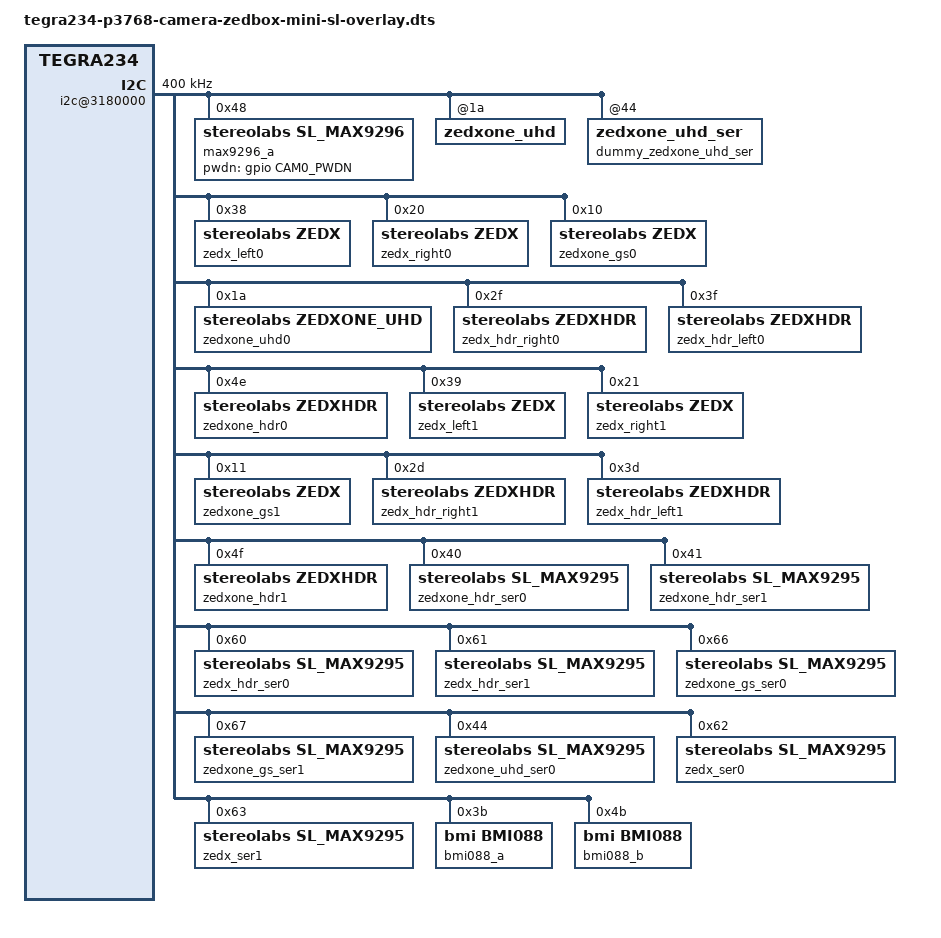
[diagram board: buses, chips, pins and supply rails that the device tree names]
// SPDX-License-Identifier: GPL-2.0-only
// SPDX-FileCopyrightText: Copyright (c) 2023-2024, NVIDIA CORPORATION & AFFILIATES. All rights reserved.

#ifdef BUILDOVERLAY
/dts-v1/;
/plugin/;
#endif 

#include "tegra234-camera-zedbox-mini.dtsi"
#include "Utils/camera-clks.dtsi"
#include "dt-bindings/clock/tegra234-clock.h"
#include "dt-bindings/gpio/tegra234-gpio.h"
#include <dt-bindings/tegra234-p3767-0000-common.h>

#define CAM0_PWDN   TEGRA234_MAIN_GPIO(H, 6)

/ {
#ifdef BUILDOVERLAY
	overlay-name = "Jetson Camera ZED-X + ZED Box Mini";
	jetson-header-name = "Jetson 24pin CSI Connector";
	compatible = JETSON_COMPATIBLE_P3768;
	
	fragment-camera-zedx-streamer@0 {
		target-path = "/";
		__overlay__ {
#endif
			bus@0 {
				i2c@3180000{
					clock-frequency = <0x61a80>; // Set to 400 kHz
					/* deserializer MAX9296 at address 0x48*/
					max9296_a@48 {
						compatible = "stereolabs,sl_max9296";
						reg = <0x48>;  /* deserializer i2c_address */
						channel = "a"; /* deserializer channel: one per deser */
						sync_mode = "master";
						mfp-trig-in = <0x01>; /* MFP pin used for trigger input */
						mfp-trig-info = <0x05>; /* MFP pin used to configure slave mode */
						camera-serializers = < /* GMSL 0 */ &zedxone_gs_ser0 &zedxone_hdr_ser0 &zedx_hdr_ser0 &zedx_ser0  &zedxone_uhd_ser0 
											   /* GMSL 1 */ &zedxone_gs_ser1 &zedxone_hdr_ser1 &zedx_hdr_ser1 &zedx_ser1  &dummy_zedxone_uhd_ser >;
						pwdn-gpio = <&gpio CAM0_PWDN GPIO_ACTIVE_HIGH>;
					};

					/* DUMMY  -  Do not populate */
					zedxone_uhd:zedxone_uhd@1a {};
					dummy_zedxone_uhd_ser: zedxone_uhd_ser@44 {
						camera_model = "zedone4k";
						zedx-id = "-1";
						camera-sensors = <&zedxone_uhd>;
					};

					/* ZEDX 0 Left Cam*/
					zedx_left0: zedx_left_0@38 {
						compatible = "stereolabs,zedx";
						reg = <0x38>;

						ZED_ORIN_CLKS

						zedx-id = "0";
						channel = "a"; /* deserializer channel */

						has-eeprom;
						eeprom-addr = <0x54>;
					};

					/* ZEDX 0 Right Cam*/
					zedx_right0: zedx_right_0@20 {
						compatible = "stereolabs,zedx";
						reg = <0x20>;

						ZED_ORIN_CLKS

						zedx-id = "0";
						channel = "a";  /* deserializer channel */

						has-eeprom;
						eeprom-addr = <0x54>;
					};
					
					/* ZEDX One GS 0 Cam*/
					zedxone_gs0:zedxone_gs_0@10 {
						compatible = "stereolabs,zedx";
						reg = <0x10>;

						ZED_ORIN_CLKS

						zedx-id = "1";
						channel = "a";   /* deserializer channel */

						eeprom-addr = <0x56>;
						has-eeprom;
					};
					
					/*ZEDX One UHD 0 Cam*/
					zedxone_uhd0:zedxone_uhd_0@1a {
						compatible = "stereolabs,zedxone_uhd";
						reg = <0x1a>;
						
						ZED_ORIN_CLKS

						zedx-id = "4";
						channel = "a"; /* deserializer channel */

						eeprom-addr = <0x54>;
						has-eeprom;
					};
					
					/* ZEDX Pro Left Cam 0 */
					zedx_hdr_right0: zedx_hdr_right_0@2f {
						compatible = "stereolabs,zedxhdr";
						reg = <0x2f>;
						
						ZED_ORIN_CLKS

						zedx-id = "2";
						channel = "a"; /* deserializer channel */

						eeprom-addr = <0x52>;
						has-eeprom;
					};
					
					/* ZEDX Pro Right Cam 0 */
					zedx_hdr_left0: zedx_hdr_left_0@3f {
						compatible = "stereolabs,zedxhdr";
						reg = <0x3f>;
						
						ZED_ORIN_CLKS

						zedx-id = "2";
						channel = "a";  /* deserializer channel */

						eeprom-addr = <0x52>;
						has-eeprom;
					};

					/* ZEDX One pro Cam 0 */
					zedxone_hdr0: zedxone_hdr_0@4e {
						compatible = "stereolabs,zedxhdr";
						reg = <0x4e>;
						
						ZED_ORIN_CLKS

						zedx-id = "3";
						channel = "a";  /* deserializer channel */

						eeprom-addr = <0x52>;
						has-eeprom;
					};

					/* ZEDX 1 Left Cam*/
					zedx_left1: zedx_left_1@39 {
						compatible = "stereolabs,zedx";
						reg = <0x39>;

						ZED_ORIN_CLKS

						zedx-id = "5";
						channel = "a"; /* deserializer channel */

						has-eeprom;
						eeprom-addr = <0x54>;
					};
					
					/* ZEDX 1 Right Cam*/
					zedx_right1: zedx_right_1@21 {
						compatible = "stereolabs,zedx";
						reg = <0x21>;

						ZED_ORIN_CLKS

						channel = "a";  /* deserializer channel */
						zedx-id = "5";

						has-eeprom;
						eeprom-addr = <0x54>;
					};

					/* ZEDX One GS 1 Cam*/
					zedxone_gs1:zedxone_gs_1@11 {
						compatible = "stereolabs,zedx";
						reg = <0x11>;

						ZED_ORIN_CLKS

						zedx-id = "6";
						channel = "a";   /* deserializer channel */

						eeprom-addr = <0x56>;
						has-eeprom;
					};

					/* ZEDX Pro Left Cam 1 */
					zedx_hdr_right1: zedx_hdr_right_1@2d {
						compatible = "stereolabs,zedxhdr";
						reg = <0x2d>;
						
						ZED_ORIN_CLKS

						zedx-id = "9";
						channel = "a"; /* deserializer channel */

						eeprom-addr = <0x52>;
						has-eeprom;
					};

					/* ZEDX Pro Right Cam 1 */
					zedx_hdr_left1: zedx_hdr_left_1@3d {
						compatible = "stereolabs,zedxhdr";
						reg = <0x3d>;
						
						ZED_ORIN_CLKS

						zedx-id = "9";
						channel = "a";  /* deserializer channel */

						eeprom-addr = <0x52>;
						has-eeprom;
					};

					/* ZEDX One pro Cam 1 */
					zedxone_hdr1: zedxone_hdr_1@4f {
						compatible = "stereolabs,zedxhdr";
						reg = <0x4f>;
						
						ZED_ORIN_CLKS

						zedx-id = "8";
						channel = "a";  /* deserializer channel */

						eeprom-addr = <0x52>;
						has-eeprom;
					};

					zedxone_hdr_ser0: zedxone_hdr_ser_0@40 {
						compatible = "stereolabs,sl_max9295";
						reg = <0x40>;

						zedx-id = "3";
						channel = "a";

						camera_model = "zedonehdr";
						camera-sensors = <&zedxone_hdr0>;
						imu = <&bmi088_a &bmi088_b>;
					};

					zedxone_hdr_ser1: zedxone_hdr_ser_1@41 {
						compatible = "stereolabs,sl_max9295";
						reg = <0x41>;

						zedx-id = "8";
						channel = "a";

						camera_model = "zedonehdr";
						camera-sensors = <&zedxone_hdr1>;
						imu = <&bmi088_a &bmi088_b>;
					};

					zedx_hdr_ser0: zedx_hdr_ser_0@60 {
						compatible = "stereolabs,sl_max9295";
						reg = <0x60>;

						zedx-id = "2";
						channel = "a";
						mode = "master";

						camera_model = "zedxhdr";
						camera-sensors = <&zedx_hdr_right0 &zedx_hdr_left0>;
						imu = <&bmi088_a &bmi088_b>;
					};

					zedx_hdr_ser1: zedx_hdr_ser_1@61 {
						compatible = "stereolabs,sl_max9295";
						reg = <0x61>;

						zedx-id = "9";
						channel = "a";
						mode = "master";

						camera_model = "zedxhdr";
						camera-sensors = <&zedx_hdr_right1 &zedx_hdr_left1>;
						imu = <&bmi088_a &bmi088_b>;
					};
					
					/* Serializers */
					zedxone_gs_ser0:zedxone_gs_ser_0@66 {
						compatible = "stereolabs,sl_max9295";
						reg = <0x66>;

						zedx-id = "1";
						channel = "a";

						camera_model = "zedonegs";
						camera-sensors = <&zedxone_gs0>;
						imu = <&bmi088_a &bmi088_b>;
					};

					/* Serializers */
					zedxone_gs_ser1:zedxone_gs_ser_1@67 {
						compatible = "stereolabs,sl_max9295";
						reg = <0x67>;

						zedx-id = "6";
						channel = "a";

						camera_model = "zedonegs";
						camera-sensors = <&zedxone_gs1>;
						imu = <&bmi088_a &bmi088_b>;
					};
					
					zedxone_uhd_ser0: zedxone_uhd_ser_0@44 {
						compatible = "stereolabs,sl_max9295";
						reg = <0x44>;

						zedx-id = "4";
						channel = "a";

						camera_model = "zedone4k";
						camera-sensors = <&zedxone_uhd0>;
						imu = <&bmi088_a &bmi088_b>;
					};
					
					zedx_ser0: zedx_ser_0@62 {
						compatible = "stereolabs,sl_max9295";
						reg = <0x62>;

						zedx-id = "0";
						channel = "a";

						camera_model = "zedx";
						camera-sensors = <&zedx_left0 &zedx_right0>;
						imu = <&bmi088_a &bmi088_b>;
					};

					zedx_ser1: zedx_ser_1@63 {
						compatible = "stereolabs,sl_max9295";
						reg = <0x63>;

						zedx-id = "5";
						channel = "a";
						
						camera_model = "zedx";
						camera-sensors = <&zedx_left1 &zedx_right1>;
						imu = <&bmi088_a &bmi088_b>;
					};

					/* IMU A*/
					bmi088_a: bmi088_a_@3b {
						status = "okay";
						compatible = "bmi,bmi088";
						reg = <0x3b>; /* <-- Must be gyroscope I2C address */
						accel_i2c_addr = <0x3c>; /* Must be specified */
						accel_matrix    = [01 00 00 00 01 00 00 00 01];
						gyro_matrix        = [01 00 00 00 01 00 00 00 01];
					};

					/* IMU B*/
					bmi088_b: bmi088_b_@4b {
						status = "okay";
						compatible = "bmi,bmi088";
						reg = <0x4b>; /* <-- Must be gyroscope I2C address */
						accel_i2c_addr = <0x4c>; /* Must be specified */
						accel_matrix    = [01 00 00 00 01 00 00 00 01];
						gyro_matrix        = [01 00 00 00 01 00 00 00 01];
					};
				};
			};
#ifdef BUILDOVERLAY
		};
	};
#endif
};
